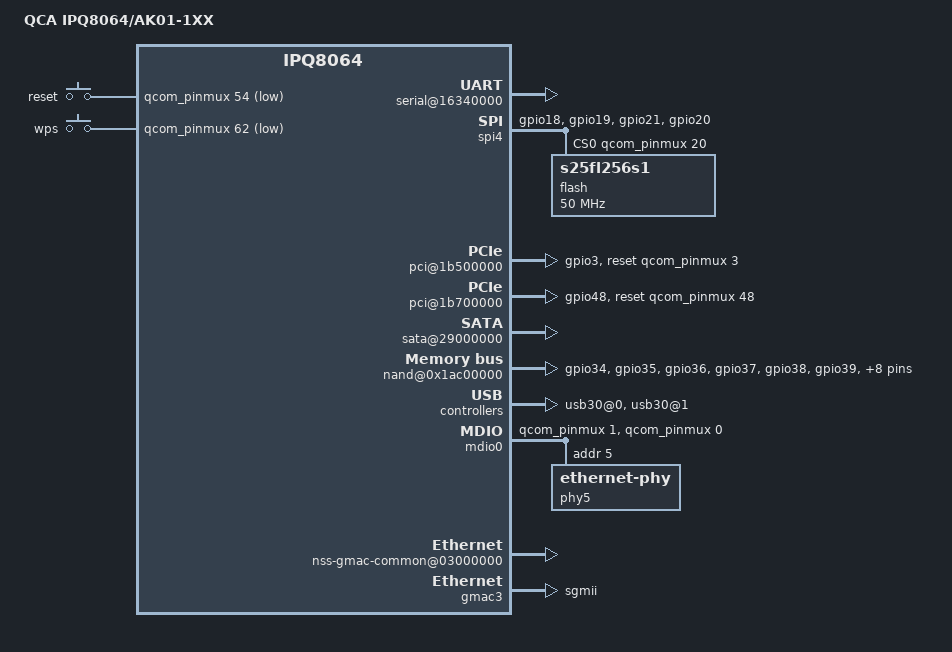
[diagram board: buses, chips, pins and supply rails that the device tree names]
/* Copyright (c) 2015, 2016 The Linux Foundation. All rights reserved.
 *
 * Permission to use, copy, modify, and/or distribute this software for any
 * purpose with or without fee is hereby granted, provided that the above
 * copyright notice and this permission notice appear in all copies.
 *
 * THE SOFTWARE IS PROVIDED "AS IS" AND THE AUTHOR DISCLAIMS ALL WARRANTIES
 * WITH REGARD TO THIS SOFTWARE INCLUDING ALL IMPLIED WARRANTIES OF
 * MERCHANTABILITY AND FITNESS. IN NO EVENT SHALL THE AUTHOR BE LIABLE FOR
 * ANY SPECIAL, DIRECT, INDIRECT, OR CONSEQUENTIAL DAMAGES OR ANY DAMAGES
 * WHATSOEVER RESULTING FROM LOSS OF USE, DATA OR PROFITS, WHETHER IN AN
 * ACTION OF CONTRACT, NEGLIGENCE OR OTHER TORTIOUS ACTION, ARISING OUT OF
 * OR IN CONNECTION WITH THE USE OR PERFORMANCE OF THIS SOFTWARE.
 *
 */

#include <dt-bindings/interrupt-controller/arm-gic.h>
#include <dt-bindings/interrupt-controller/irq.h>
#include <dt-bindings/input/input.h>
#include <dt-bindings/gpio/gpio.h>

/ {
	model = "QCA IPQ8064/AK01-1XX";
	compatible = "qcom,ipq8064-ak01", "qcom,ipq8064";

	reserved-memory {
		#address-cells = <1>;
		#size-cells = <1>;
		ranges;
		rsvd@41200000 {
			reg = <0x41200000 0x300000>;
			no-map;
		};
	};

	aliases {
		mdio-gpio0 = &mdio0;
		/*
		 * U-Boot searches for these entries and patches
		 * 'local-mac-address'
		 */
		ethernet0 = &gmac3;
	};

	soc {
		pinmux@800000 {
			pinctrl-0 = <&mdio0_pins_default &rgmii2_pins_default>;
			pinctrl-names = "default";

			pcie1_pins: pcie1_pinmux {
				mux {
					pins = "gpio3";
					drive-strength = <2>;
					bias-disable;
				};
			};

			pcie2_pins: pcie2_pinmux {
				mux {
					pins = "gpio48";
					drive-strength = <2>;
					bias-disable;
				};
			};

			spi_pins: spi_pins {
				mux {
					pins = "gpio18", "gpio19", "gpio21";
					function = "gsbi5";
					drive-strength = <10>;
					bias-none;
				};
				cs {
					pins = "gpio20";
					drive-strength = <12>;
				};
			};
			nand_pins: nand_pins {
				mux {
					pins = "gpio34", "gpio35", "gpio36",
						"gpio37", "gpio38", "gpio39",
						"gpio40", "gpio41", "gpio42",
						"gpio43", "gpio44", "gpio45",
						"gpio46", "gpio47";
					function = "nand";
					drive-strength = <10>;
					bias-disable;
				};
				pullups {
					pins = "gpio39";
					bias-pull-up;
				};
				hold {
					pins = "gpio40", "gpio41", "gpio42",
						"gpio43", "gpio44", "gpio45",
						"gpio46", "gpio47";
					bias-bus-hold;
				};
			};

			mdio0_pins_default: mdio0_pins_default {
				mux {
					pins = "gpio0", "gpio1";
					function = "mdio";
					drive-strength = <8>;
					bias-disable;
				};

				clk {
					pins = "gpio1";
					input-disable;
				};
			};

			rgmii2_pins_default: rgmii2_pins_default {
				mux {
					pins = "gpio27", "gpio28", "gpio29", "gpio30", "gpio31", "gpio32",
					       "gpio51", "gpio52", "gpio59", "gpio60", "gpio61", "gpio62" ;
					function = "rgmii2";
					drive-strength = <8>;
					bias-disable;
				};

				tx {
					pins = "gpio27", "gpio28", "gpio29", "gpio30", "gpio31", "gpio32" ;
					input-disable;
				};
			};
		};

		gsbi@16300000 {
			qcom,mode = <GSBI_PROT_I2C_UART>;
			status = "ok";
			serial@16340000 {
				status = "ok";
			};
		};

		gsbi5: gsbi@1a200000 {
			qcom,mode = <GSBI_PROT_SPI>;
			status = "ok";

			spi4: spi@1a280000 {
				status = "ok";
				spi-max-frequency = <50000000>;

				pinctrl-0 = <&spi_pins>;
				pinctrl-names = "default";

				cs-gpios = <&qcom_pinmux 20 0>;

				dmas = <&adm_dma 6 9>,
					<&adm_dma 5 10>;
				dma-names = "rx", "tx";

				flash: m25p80@0 {
					compatible = "s25fl256s1";
					#address-cells = <1>;
					#size-cells = <1>;
					spi-max-frequency = <50000000>;
					reg = <0>;
					m25p,fast-read;
				};
			};
		};

		sata-phy@1b400000 {
			status = "ok";
		};

		pci@1b500000 {
			status = "ok";
			reset-gpio = <&qcom_pinmux 3 0>;
			pinctrl-0 = <&pcie1_pins>;
			pinctrl-names = "default";

			ranges = <0x00000000 0 0x00000000 0x0ff00000 0 0x00100000   /* configuration space */
				  0x81000000 0 0	  0x0fe00000 0 0x00100000   /* downstream I/O */
				  0x82000000 0 0x00000000 0x08000000 0 0x07e00000>; /* non-prefetchable memory */
		};

		pci@1b700000 {
			status = "ok";
			reset-gpio = <&qcom_pinmux 48 0>;
			pinctrl-0 = <&pcie2_pins>;
			pinctrl-names = "default";

			ranges = <0x00000000 0 0x00000000 0x31f00000 0 0x00100000   /* configuration space */
				  0x81000000 0 0	  0x31e00000 0 0x00100000   /* downstream I/O */
				  0x82000000 0 0x00000000 0x2e000000 0 0x03e00000>; /* non-prefetchable memory */

		};

		sata@29000000 {
			status = "ok";
		};

		dma@18300000 {
			status = "ok";
		};

		nand@0x1ac00000 {
			status = "ok";

			pinctrl-0 = <&nand_pins>;
			pinctrl-names = "default";
		};

		tcsr@1a400000 {
			status = "ok";
		};

		phy@100f8800 {		/* USB3 port 1 HS phy */
			status = "ok";
		};

		phy@100f8830 {		/* USB3 port 1 SS phy */
			status = "ok";
		};

		phy@110f8800 {		/* USB3 port 0 HS phy */
			status = "ok";
		};

		phy@110f8830 {		/* USB3 port 0 SS phy */
			status = "ok";
		};

		usb30@0 {
			status = "ok";
		};

		usb30@1 {
			status = "ok";
		};

		gpio_keys {
			compatible = "gpio-keys";

			button@1 {
				label = "reset";
				linux,code = <KEY_RESTART>;
				gpios = <&qcom_pinmux 54 GPIO_ACTIVE_LOW>;
				linux,input-type = <1>;
				debounce-interval = <60>;
			};
			button@2 {
				label = "wps";
				linux,code = <KEY_WPS_BUTTON>;
				gpios = <&qcom_pinmux 62 GPIO_ACTIVE_LOW>;
				linux,input-type = <1>;
				debounce-interval = <60>;
			};
		};

		mdio0: mdio {
			compatible = "virtual,mdio-gpio";
			#address-cells = <1>;
			#size-cells = <0>;
			gpios = <&qcom_pinmux 1 0 &qcom_pinmux 0 0>;

			phy5: ethernet-phy@5 {
				device_type = "ethernet-phy";
				reg = <5>;
			};
		};

		nss0: nss@40000000 {
			compatible = "qcom,nss";
			interrupts = <GIC_SPI 213 IRQ_TYPE_LEVEL_HIGH>,
				     <GIC_SPI 232 IRQ_TYPE_LEVEL_HIGH>;
			reg = <0x36000000 0x1000 0x39000000 0x10000>;
			reg-names = "nphys", "vphys";
			clocks = <&gcc NSS_CORE_CLK>, <&gcc NSSTCM_CLK_SRC>,
				 <&gcc NSSTCM_CLK>, <&nss_fabric0_clk>,
				 <&nss_fabric1_clk>;
			clock-names = "nss-core-clk", "nss-tcm-src",
				      "nss-tcm-clk", "nss-fab0-clk",
				      "nss-fab1-clk";
			resets = <&gcc UBI32_CORE1_CLKRST_CLAMP_RESET>,
				 <&gcc UBI32_CORE1_CLAMP_RESET>,
				 <&gcc UBI32_CORE1_AHB_RESET>,
				 <&gcc UBI32_CORE1_AXI_RESET>;
			reset-names = "clkrst-clamp", "clamp", "ahb", "axi";

			qcom,id = <0>;
			qcom,num-irq = <2>;
			qcom,num-queue = <2>;
			qcom,load-addr = <0x40000000>;
			qcom,turbo-frequency;

			qcom,ipv4-enabled;
			qcom,ipv6-enabled;
			qcom,l2tpv2-enabled;
			qcom,gre-enabled;
			qcom,map-t-enabled;
			qcom,pptp-enabled;
			qcom,portid-enabled;
			qcom,shaping-enabled;
			qcom,tun6rd-enabled;
			qcom,tunipip6-enabled;
			qcom,wlan-dataplane-offload-enabled;
			qcom,wlanredirect-enabled;
		};

		nss-gmac-common@03000000 {
			compatible = "qcom,nss-gmac-common";
			reg = <0x03000000 0x0000FFFF 0x1bb00000 0x0000FFFF 0x00900000 0x00004000>;
			reg-names = "nss_reg_base" , "qsgmii_reg_base", "clk_ctl_base";
		};

		gmac3: ethernet@37600000 {
			device_type = "network";
			compatible = "qcom,nss-gmac";
			reg = <0x37600000 0x200000>;
			interrupts = <GIC_SPI 229 IRQ_TYPE_LEVEL_HIGH>;
			phy-mode = "sgmii";
			qcom,id = <3>;
			qcom,pcs-chanid = <3>;
			qcom,phy-mdio-addr = <5>;
			qcom,poll-required = <1>;
			qcom,rgmii-delay = <0>;
			qcom,emulation = <0>;
			qcom,forced-speed = <0>;
			qcom,forced-duplex = <0xFF>;
			qcom,mmds-mask = <0>;
			qcom,socver = <0>;
			local-mac-address = [000000000000];
			mdiobus = <&mdio0>;
		};

	};
};
